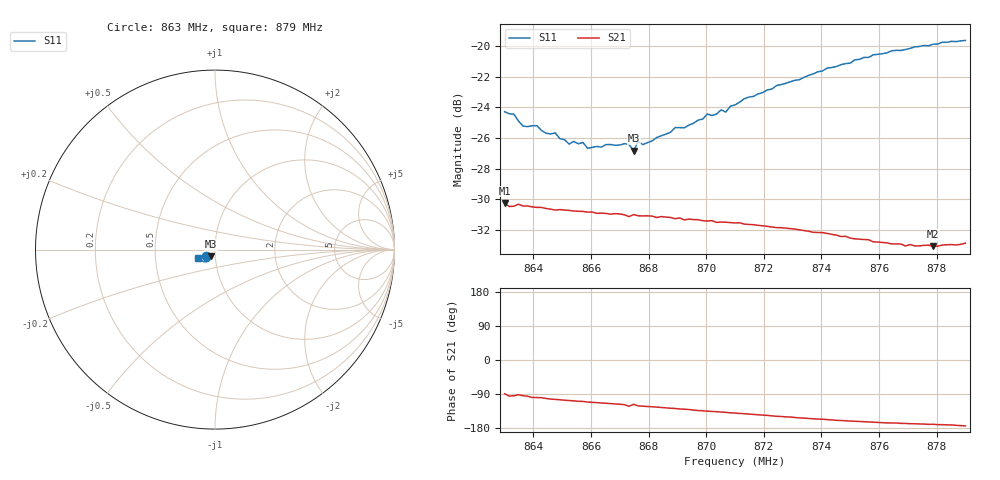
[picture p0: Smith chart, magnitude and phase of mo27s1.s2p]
# HZ S RI R 50
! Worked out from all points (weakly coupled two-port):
!   101 points, 863 MHz to 879 MHz, reference 50 ohm
!   highest |S21| = -30.25 dB at 863 MHz (marker M1); lowest = -33.1 dB at 877.88 MHz (marker M2)
!   lowest |S11| = -26.8 dB at 867.48 MHz (marker M3), VSWR 1.10, Z = 47.4 - j3.62 ohm
!   |S11| at or under -10 dB: start of sweep to end of sweep
!   S12 and S22 are empty: the file has one direction only
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8.63e8  -0.0511 -0.0334  0.000471 -0.0307  0 0  0 0
8.6332e8  -0.0512 -0.0312  -0.0023 -0.0299  0 0  0 0
8.6364e8  -0.0456 -0.0303  -0.00223 -0.03  0 0  0 0
8.6412e8  -0.0452 -0.0312  -0.0047 -0.0294  0 0  0 0
8.6444e8  -0.042 -0.0305  -0.00591 -0.0289  0 0  0 0
8.6476e8  -0.0415 -0.0314  -0.00702 -0.0283  0 0  0 0
8.6524e8  -0.0369 -0.0305  -0.00844 -0.0278  0 0  0 0
8.6572e8  -0.0346 -0.0339  -0.00956 -0.0272  0 0  0 0
8.6588e8  -0.0333 -0.0323  -0.0102 -0.0268  0 0  0 0
8.6716e8  -0.029 -0.0383  -0.0131 -0.0249  0 0  0 0
8.6748e8  -0.0249 -0.0381  -0.0128 -0.0251  0 0  0 0
8.6764e8  -0.0279 -0.0401  -0.0144 -0.0239  0 0  0 0
8.678e8  -0.0262 -0.0398  -0.0147 -0.0237  0 0  0 0
8.6844e8  -0.0262 -0.0437  -0.016 -0.0226  0 0  0 0
8.6924e8  -0.0258 -0.0475  -0.0174 -0.0208  0 0  0 0
8.7004e8  -0.0277 -0.0532  -0.019 -0.019  0 0  0 0
8.7068e8  -0.0277 -0.0542  -0.0198 -0.0177  0 0  0 0
8.71e8  -0.0296 -0.057  -0.0203 -0.017  0 0  0 0
8.7372e8  -0.0453 -0.0673  -0.0223 -0.0104  0 0  0 0
8.7644e8  -0.0724 -0.0637  -0.0219 -0.00539  0 0  0 0
8.7788e8  -0.0847 -0.0556  -0.0218 -0.00405  0 0  0 0
8.79e8  -0.0929 -0.0473  -0.0226 -0.00244  0 0  0 0
